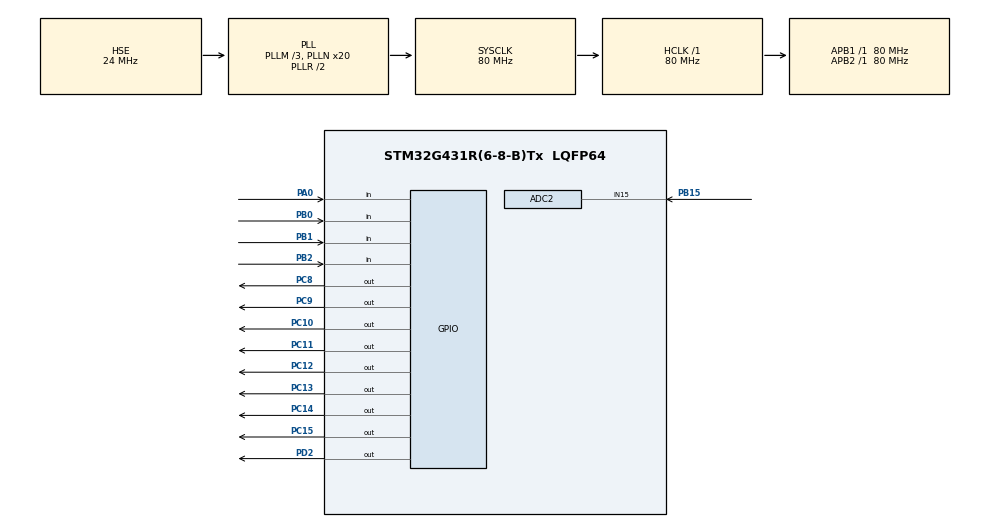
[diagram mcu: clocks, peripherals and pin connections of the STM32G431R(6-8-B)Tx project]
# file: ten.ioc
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ADC2.Channel-0\#ChannelRegularConversion=ADC_CHANNEL_15
ADC2.NbrOfConversionFlag=1
ADC2.OffsetNumber-0\#ChannelRegularConversion=ADC_OFFSET_NONE
ADC2.Rank-0\#ChannelRegularConversion=1
ADC2.SamplingTime-0\#ChannelRegularConversion=ADC_SAMPLETIME_2CYCLES_5
Mcu.Family=STM32G4
Mcu.Name=STM32G431R(6-8-B)Tx
Mcu.Package=LQFP64
NVIC.PriorityGroup=NVIC_PRIORITYGROUP_4
NVIC.TIM2_IRQn=true\:0\:0\:false\:false\:true\:true\:true
NVIC.TIM3_IRQn=true\:0\:0\:false\:false\:true\:true\:true
PA0.GPIO_PuPd=GPIO_PULLUP
PA0.Signal=GPIO_Input
PA13.Mode=Serial_Wire
PA13.Signal=SYS_JTMS-SWDIO
PA14.Mode=Serial_Wire
PA14.Signal=SYS_JTCK-SWCLK
PB0.GPIO_PuPd=GPIO_PULLUP
PB0.Signal=GPIO_Input
PB1.GPIO_PuPd=GPIO_PULLUP
PB1.Signal=GPIO_Input
PB15.Mode=IN15-Single-Ended
PB15.Signal=ADC2_IN15
PB2.GPIO_PuPd=GPIO_PULLUP
PB2.Signal=GPIO_Input
PC10.PinState=GPIO_PIN_SET
PC10.Signal=GPIO_Output
PC11.PinState=GPIO_PIN_SET
PC11.Signal=GPIO_Output
PC12.PinState=GPIO_PIN_SET
PC12.Signal=GPIO_Output
PC13.PinState=GPIO_PIN_SET
PC13.Signal=GPIO_Output
PC14-OSC32_IN.PinState=GPIO_PIN_SET
PC14-OSC32_IN.Signal=GPIO_Output
PC15-OSC32_OUT.PinState=GPIO_PIN_SET
PC15-OSC32_OUT.Signal=GPIO_Output
PC8.PinState=GPIO_PIN_SET
PC8.Signal=GPIO_Output
PC9.PinState=GPIO_PIN_SET
PC9.Signal=GPIO_Output
PD2.Signal=GPIO_Output
PF0-OSC_IN.Mode=HSE-External-Oscillator
PF0-OSC_IN.Signal=RCC_OSC_IN
PF1-OSC_OUT.Mode=HSE-External-Oscillator
PF1-OSC_OUT.Signal=RCC_OSC_OUT
ProjectManager.HeapSize=0x200
ProjectManager.StackSize=0x400
ProjectManager.TargetToolchain=MDK-ARM V5
RCC.ADC12Freq_Value=80000000
RCC.AHBFreq_Value=80000000
RCC.APB1Freq_Value=80000000
RCC.APB1TimFreq_Value=80000000
RCC.APB2Freq_Value=80000000
RCC.APB2TimFreq_Value=80000000
RCC.CortexFreq_Value=80000000
RCC.EXTERNAL_CLOCK_VALUE=12288000
RCC.HCLKFreq_Value=80000000
RCC.HSE_VALUE=24000000
RCC.HSI48_VALUE=48000000
RCC.HSI_VALUE=16000000
RCC.LSE_VALUE=32768
RCC.PLLM=RCC_PLLM_DIV3
RCC.PLLN=20
RCC.PLLSourceVirtual=RCC_PLLSOURCE_HSE
RCC.SYSCLKFreq_VALUE=80000000
RCC.SYSCLKSource=RCC_SYSCLKSOURCE_PLLCLK
RCC.USBFreq_Value=80000000
RCC.VCOOutputFreq_Value=160000000
TIM2.PeriodNoDither=10000-1
TIM2.Prescaler=80-1
TIM3.PeriodNoDither=20000-1
TIM3.Prescaler=800-1
VP_SYS_VS_DBSignals.Mode=DisableDeadBatterySignals
VP_TIM2_VS_ClockSourceINT.Mode=Internal
VP_TIM3_VS_ClockSourceINT.Mode=Internal
board=custom

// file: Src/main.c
/* USER CODE BEGIN Header */
/**
  ******************************************************************************
  * @file           : main.c
  * @brief          : Main program body
  ******************************************************************************
  * @attention
  *
  * <h2><center>&copy; Copyright (c) 2024 STMicroelectronics.
  * All rights reserved.</center></h2>
  *
  * This software component is licensed by ST under BSD 3-Clause license,
  * the "License"; You may not use this file except in compliance with the
  * License. You may obtain a copy of the License at:
  *                        opensource.org/licenses/BSD-3-Clause
  *
  ******************************************************************************
  */
/* USER CODE END Header */

#include "main.h"
#include "adc.h"
#include "tim.h"
#include "gpio.h"

/* USER CODE BEGIN Includes */
#include "myfile.h"
#include "display.h"
#include "key.h"
#include "lcd.h"

/* USER CODE END Includes */

/* USER CODE BEGIN PV */

//电压上下限值
float v_max=2.4;
float v_min=1.2;

//R37输出电压值
float v_37;

//LCD显示界面标记
//menu%2==0--数据显示界面		menu%2==1--参数配置界面
uint8_t menu=0;

//超过上限的提醒指示灯
unsigned char led_upper=0x01;

//低于下限的提醒指示灯
unsigned char led_lower=0x02;

//LED的亮灭状态
unsigned char led_sta;

//切换要调整的参数
uint8_t change_type=0;

//指示灯LED的位置
uint8_t upper_led=0;
uint8_t low_led=1;

/* USER CODE END PV */

void SystemClock_Config(void);

int main(void)
{

  /* MCU Configuration--------------------------------------------------------*/

  /* Reset of all peripherals, Initializes the Flash interface and the Systick. */
  HAL_Init();

  /* Configure the system clock */
  SystemClock_Config();

  /* Initialize all configured peripherals */
  MX_GPIO_Init();
  MX_ADC2_Init();
  MX_TIM2_Init();
  MX_TIM3_Init();
  /* USER CODE BEGIN 2 */
	sys_init();
  /* USER CODE END 2 */

  /* Infinite loop */
  while (1)
  {

    /* USER CODE BEGIN 3 */
		sys_work();
  }
  /* USER CODE END 3 */
}

void SystemClock_Config(void)
{
  RCC_OscInitTypeDef RCC_OscInitStruct = {0};
  RCC_ClkInitTypeDef RCC_ClkInitStruct = {0};
  RCC_PeriphCLKInitTypeDef PeriphClkInit = {0};

  /** Configure the main internal regulator output voltage
  */
  HAL_PWREx_ControlVoltageScaling(PWR_REGULATOR_VOLTAGE_SCALE1);
  /** Initializes the CPU, AHB and APB busses clocks
  */
  RCC_OscInitStruct.OscillatorType = RCC_OSCILLATORTYPE_HSE;
  RCC_OscInitStruct.HSEState = RCC_HSE_ON;
  RCC_OscInitStruct.PLL.PLLState = RCC_PLL_ON;
  RCC_OscInitStruct.PLL.PLLSource = RCC_PLLSOURCE_HSE;
  RCC_OscInitStruct.PLL.PLLM = RCC_PLLM_DIV3;
  RCC_OscInitStruct.PLL.PLLN = 20;
  RCC_OscInitStruct.PLL.PLLP = RCC_PLLP_DIV2;
  RCC_OscInitStruct.PLL.PLLQ = RCC_PLLQ_DIV2;
  RCC_OscInitStruct.PLL.PLLR = RCC_PLLR_DIV2;
  if (HAL_RCC_OscConfig(&RCC_OscInitStruct) != HAL_OK)
  {
    Error_Handler();
  }
  /** Initializes the CPU, AHB and APB busses clocks
  */
  RCC_ClkInitStruct.ClockType = RCC_CLOCKTYPE_HCLK|RCC_CLOCKTYPE_SYSCLK
                              |RCC_CLOCKTYPE_PCLK1|RCC_CLOCKTYPE_PCLK2;
  RCC_ClkInitStruct.SYSCLKSource = RCC_SYSCLKSOURCE_PLLCLK;
  RCC_ClkInitStruct.AHBCLKDivider = RCC_SYSCLK_DIV1;
  RCC_ClkInitStruct.APB1CLKDivider = RCC_HCLK_DIV1;
  RCC_ClkInitStruct.APB2CLKDivider = RCC_HCLK_DIV1;

  if (HAL_RCC_ClockConfig(&RCC_ClkInitStruct, FLASH_LATENCY_3) != HAL_OK)
  {
    Error_Handler();
  }
  /** Initializes the peripherals clocks
  */
  PeriphClkInit.PeriphClockSelection = RCC_PERIPHCLK_ADC12;
  PeriphClkInit.Adc12ClockSelection = RCC_ADC12CLKSOURCE_SYSCLK;
  if (HAL_RCCEx_PeriphCLKConfig(&PeriphClkInit) != HAL_OK)
  {
    Error_Handler();
  }
}

void Error_Handler(void)
{
}

/************************ (C) COPYRIGHT STMicroelectronics *****END OF FILE****/
